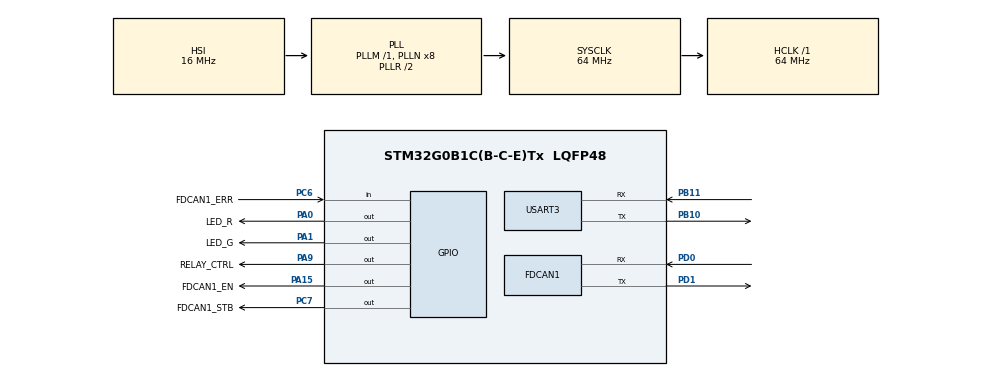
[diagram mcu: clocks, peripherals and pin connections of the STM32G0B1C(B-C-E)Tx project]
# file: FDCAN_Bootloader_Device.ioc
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FDCAN1.AutoRetransmission=ENABLE
FDCAN1.CalculateBaudRateNominal=500000
FDCAN1.CalculateTimeBitNominal=2000
FDCAN1.CalculateTimeQuantumNominal=125.0
FDCAN1.ClockDivider=FDCAN_CLOCK_DIV1
FDCAN1.DataPrescaler=2
FDCAN1.DataSyncJumpWidth=3
FDCAN1.DataTimeSeg1=12
FDCAN1.DataTimeSeg2=3
FDCAN1.FrameFormat=FDCAN_FRAME_FD_BRS
FDCAN1.NominalPrescaler=8
FDCAN1.NominalSyncJumpWidth=3
FDCAN1.NominalTimeSeg1=12
FDCAN1.NominalTimeSeg2=3
FDCAN1.StdFiltersNbr=1
Mcu.Family=STM32G0
Mcu.Name=STM32G0B1C(B-C-E)Tx
Mcu.Package=LQFP48
NVIC.TIM16_FDCAN_IT0_IRQn=true\:1\:0\:true\:false\:true\:true\:true\:true
PA0.GPIO_Label=LED_R
PA0.Signal=GPIO_Output
PA1.GPIO_Label=LED_G
PA1.Signal=GPIO_Output
PA13.Mode=Serial_Wire
PA13.Signal=SYS_SWDIO
PA14-BOOT0.Mode=Serial_Wire
PA14-BOOT0.Signal=SYS_SWCLK
PA15.GPIO_Label=FDCAN1_EN
PA15.Signal=GPIO_Output
PA9.GPIO_Label=RELAY_CTRL
PA9.Signal=GPIO_Output
PB10.Mode=Asynchronous
PB10.Signal=USART3_TX
PB11.Mode=Asynchronous
PB11.Signal=USART3_RX
PC6.GPIO_Label=FDCAN1_ERR
PC6.GPIO_PuPd=GPIO_PULLUP
PC6.Signal=GPIO_Input
PC7.GPIO_Label=FDCAN1_STB
PC7.Signal=GPIO_Output
PD0.Mode=FDCAN_Activate
PD0.Signal=FDCAN1_RX
PD1.Mode=FDCAN_Activate
PD1.Signal=FDCAN1_TX
PF0-OSC_IN\ (PF0).Mode=HSE-External-Oscillator
PF0-OSC_IN\ (PF0).Signal=RCC_OSC_IN
PF1-OSC_OUT\ (PF1).Mode=HSE-External-Oscillator
PF1-OSC_OUT\ (PF1).Signal=RCC_OSC_OUT
ProjectManager.HeapSize=0x200
ProjectManager.StackSize=0x400
ProjectManager.TargetToolchain=STM32CubeIDE
RCC.ADCFreq_Value=64000000
RCC.AHBFreq_Value=64000000
RCC.CortexFreq_Value=64000000
RCC.EXTERNAL_CLOCK_VALUE=48000
RCC.HCLKFreq_Value=64000000
RCC.HSE_VALUE=8000000
RCC.HSI48_VALUE=48000000
RCC.HSI_VALUE=16000000
RCC.LSE_VALUE=32768
RCC.SYSCLKFreq_VALUE=64000000
RCC.SYSCLKSource=RCC_SYSCLKSOURCE_PLLCLK
RCC.USBFreq_Value=48000000
RCC.VCOOutputFreq_Value=128000000
USART3.VirtualMode-Asynchronous=VM_ASYNC
VP_SYS_VS_DBSignals.Mode=DisableDeadBatterySignals
board=custom

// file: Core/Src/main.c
/* USER CODE BEGIN Header */
/**
  ******************************************************************************
  * @file           : main.c
  * @brief          : Main program body
  ******************************************************************************
  * @attention
  *
  * Copyright (c) 2024 STMicroelectronics.
  * All rights reserved.
  *
  * This software is licensed under terms that can be found in the LICENSE file
  * in the root directory of this software component.
  * If no LICENSE file comes with this software, it is provided AS-IS.
  *
  ******************************************************************************
  */
/* USER CODE END Header */
#include "main.h"
#include "fdcan.h"
#include "usart.h"
#include "gpio.h"

/* USER CODE BEGIN Includes */
#include "FDCAN_Flash_device.h"
/* USER CODE END Includes */

void SystemClock_Config(void);

/* USER CODE BEGIN 0 */
#ifdef __GNUC__
#define PUTCHAR_PROTOTYPE int __io_putchar(int ch)
#else
#define PUTCHAR_PROTOTYPE int fputc(int ch, FILE *f)
#endif /* __GNUC__ */

#ifdef __cplusplus
extern "C" {
#endif
PUTCHAR_PROTOTYPE
{
    HAL_UART_Transmit(&huart3 , (uint8_t *)&ch, 1, HAL_MAX_DELAY);
    return ch;
}
#ifdef __cplusplus
}
#endif
/* USER CODE END 0 */

int main(void)
{
  /* USER CODE BEGIN 1 */
	uint8_t id;
	uint32_t starttime;
	uint32_t endtime;
  /* USER CODE END 1 */

  /* MCU Configuration--------------------------------------------------------*/

  /* Reset of all peripherals, Initializes the Flash interface and the Systick. */
  HAL_Init();

  /* Configure the system clock */
  SystemClock_Config();

  /* USER CODE BEGIN SysInit */
  uint32_t address;
  address = 0x08003000;
  /* USER CODE END SysInit */

  /* Initialize all configured peripherals */
  MX_GPIO_Init();
  MX_FDCAN1_Init();
  MX_USART3_UART_Init();
  /* USER CODE BEGIN 2 */
  printf("device\n");
  FDCAN_Enable();
//  jump_to_app(address);
  starttime = HAL_GetTick();
  /* USER CODE END 2 */

  /* Infinite loop */
  /* USER CODE BEGIN WHILE */
	while (1)
	{
		if((isSelectID == 1) && (isCommandID == 1))
		{
			starttime = HAL_GetTick();
			printf("Select Command ID\n");

			isCommandID = 0;
			FDCAN_ReadByte();
			id = header.RxHeader.Identifier;
			switch(id)
			{
				case 0x00:
					FDCAN_GetCommand_d();
					break;
				case 0x02:
					FDCAN_GetID_d();
					break;
				case 0x11:
					FDCAN_ReadMemory_d();
					break;
				case 0x21:
					FDCAN_Go_d();
					break;
				case 0x31:
					FDCAN_WriteMemory_d();
					break;
				case 0x44:
					FDCAN_EraseMemory_d();
					break;
				default:
					break;
			}
			isSelectID = 0;
			isCommandID = 1;
		}
		else
		{
			endtime = HAL_GetTick();
			if(endtime - starttime > 4000)
			{
				jump_to_app(address);
			}
		}
    /* USER CODE END WHILE */

	}
}

void SystemClock_Config(void)
{
  RCC_OscInitTypeDef RCC_OscInitStruct = {0};
  RCC_ClkInitTypeDef RCC_ClkInitStruct = {0};

  /** Configure the main internal regulator output voltage
  */
  HAL_PWREx_ControlVoltageScaling(PWR_REGULATOR_VOLTAGE_SCALE1);

  /** Initializes the RCC Oscillators according to the specified parameters
  * in the RCC_OscInitTypeDef structure.
  */
  RCC_OscInitStruct.OscillatorType = RCC_OSCILLATORTYPE_HSI;
  RCC_OscInitStruct.HSIState = RCC_HSI_ON;
  RCC_OscInitStruct.HSIDiv = RCC_HSI_DIV1;
  RCC_OscInitStruct.HSICalibrationValue = RCC_HSICALIBRATION_DEFAULT;
  RCC_OscInitStruct.PLL.PLLState = RCC_PLL_ON;
  RCC_OscInitStruct.PLL.PLLSource = RCC_PLLSOURCE_HSI;
  RCC_OscInitStruct.PLL.PLLM = RCC_PLLM_DIV1;
  RCC_OscInitStruct.PLL.PLLN = 8;
  RCC_OscInitStruct.PLL.PLLP = RCC_PLLP_DIV2;
  RCC_OscInitStruct.PLL.PLLQ = RCC_PLLQ_DIV2;
  RCC_OscInitStruct.PLL.PLLR = RCC_PLLR_DIV2;
  if (HAL_RCC_OscConfig(&RCC_OscInitStruct) != HAL_OK)
  {
    Error_Handler();
  }

  /** Initializes the CPU, AHB and APB buses clocks
  */
  RCC_ClkInitStruct.ClockType = RCC_CLOCKTYPE_HCLK|RCC_CLOCKTYPE_SYSCLK
                              |RCC_CLOCKTYPE_PCLK1;
  RCC_ClkInitStruct.SYSCLKSource = RCC_SYSCLKSOURCE_PLLCLK;
  RCC_ClkInitStruct.AHBCLKDivider = RCC_SYSCLK_DIV1;
  RCC_ClkInitStruct.APB1CLKDivider = RCC_HCLK_DIV1;

  if (HAL_RCC_ClockConfig(&RCC_ClkInitStruct, FLASH_LATENCY_2) != HAL_OK)
  {
    Error_Handler();
  }
}

void Error_Handler(void)
{
  __disable_irq();
  while (1)
  {
  }
}
